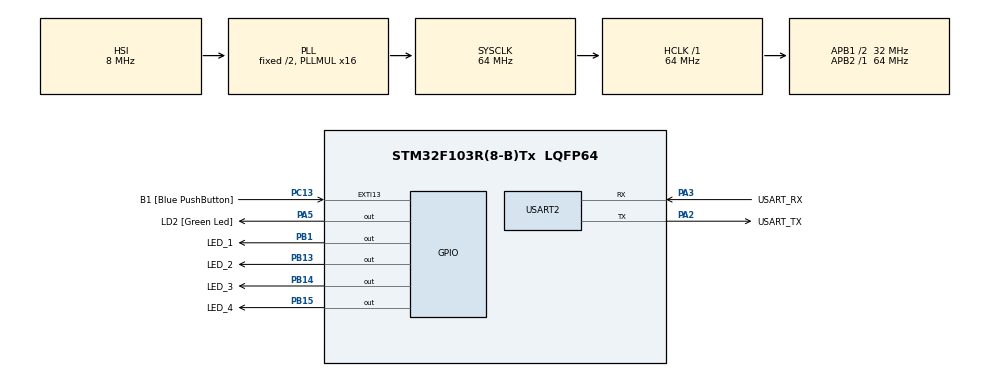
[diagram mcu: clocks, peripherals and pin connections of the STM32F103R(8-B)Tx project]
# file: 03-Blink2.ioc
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Mcu.Family=STM32F1
Mcu.Name=STM32F103R(8-B)Tx
Mcu.Package=LQFP64
NVIC.EXTI15_10_IRQn=true\:0\:0\:false\:false\:true\:true\:true\:true
NVIC.PriorityGroup=NVIC_PRIORITYGROUP_4
PA13.GPIO_Label=TMS
PA13.Mode=Serial_Wire
PA13.Signal=SYS_JTMS-SWDIO
PA14.GPIO_Label=TCK
PA14.Mode=Serial_Wire
PA14.Signal=SYS_JTCK-SWCLK
PA2.GPIO_Label=USART_TX
PA2.GPIO_Mode=GPIO_MODE_AF_PP
PA2.GPIO_PuPd=GPIO_NOPULL
PA2.GPIO_Speed=GPIO_SPEED_FREQ_LOW
PA2.Mode=Asynchronous
PA2.Signal=USART2_TX
PA3.GPIO_Label=USART_RX
PA3.GPIO_Mode=GPIO_MODE_AF_PP
PA3.GPIO_PuPd=GPIO_NOPULL
PA3.GPIO_Speed=GPIO_SPEED_FREQ_LOW
PA3.Mode=Asynchronous
PA3.Signal=USART2_RX
PA5.GPIO_Label=LD2 [Green Led]
PA5.GPIO_ModeDefaultOutputPP=GPIO_MODE_OUTPUT_PP
PA5.GPIO_PuPd=GPIO_NOPULL
PA5.GPIO_Speed=GPIO_SPEED_FREQ_LOW
PA5.PinState=GPIO_PIN_RESET
PA5.Signal=GPIO_Output
PB1.GPIO_Label=LED_1
PB1.GPIO_PuPd=GPIO_PULLUP
PB1.Signal=GPIO_Output
PB13.GPIO_Label=LED_2
PB13.GPIO_PuPd=GPIO_PULLUP
PB13.Signal=GPIO_Output
PB14.GPIO_Label=LED_3
PB14.GPIO_PuPd=GPIO_PULLUP
PB14.Signal=GPIO_Output
PB15.GPIO_Label=LED_4
PB15.GPIO_PuPd=GPIO_PULLUP
PB15.Signal=GPIO_Output
PB3.GPIO_Label=SWO
PB3.Signal=SYS_JTDO-TRACESWO
PC13-TAMPER-RTC.GPIO_Label=B1 [Blue PushButton]
PC13-TAMPER-RTC.GPIO_PuPd=GPIO_PULLUP
PC13-TAMPER-RTC.Signal=GPXTI13
PC14-OSC32_IN.Mode=LSE-External-Oscillator
PC14-OSC32_IN.Signal=RCC_OSC32_IN
PC15-OSC32_OUT.Mode=LSE-External-Oscillator
PC15-OSC32_OUT.Signal=RCC_OSC32_OUT
PD0-OSC_IN.Mode=HSE-External-Clock-Source
PD0-OSC_IN.Signal=RCC_OSC_IN
PD1-OSC_OUT.Mode=HSE-External-Clock-Source
PD1-OSC_OUT.Signal=RCC_OSC_OUT
ProjectManager.HeapSize=0x200
ProjectManager.StackSize=0x400
ProjectManager.TargetToolchain=STM32CubeIDE
RCC.AHBFreq_Value=64000000
RCC.APB1CLKDivider=RCC_HCLK_DIV2
RCC.APB1Freq_Value=32000000
RCC.APB1TimFreq_Value=64000000
RCC.APB2Freq_Value=64000000
RCC.APB2TimFreq_Value=64000000
RCC.HCLKFreq_Value=64000000
RCC.PLLMUL=RCC_PLL_MUL16
RCC.RTCClockSelection=RCC_RTCCLKSOURCE_LSE
RCC.SYSCLKFreq_VALUE=64000000
RCC.SYSCLKSource=RCC_SYSCLKSOURCE_PLLCLK
RCC.USBFreq_Value=64000000
USART2.VirtualMode=VM_ASYNC
board=NUCLEO-F103RB

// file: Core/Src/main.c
/* USER CODE BEGIN Header */
/**
  ******************************************************************************
  * @file           : main.c
  * @brief          : Main program body
  ******************************************************************************
  * @attention
  *
  * Copyright (c) 2026 STMicroelectronics.
  * All rights reserved.
  *
  * This software is licensed under terms that can be found in the LICENSE file
  * in the root directory of this software component.
  * If no LICENSE file comes with this software, it is provided AS-IS.
  *
  ******************************************************************************
  */
/* USER CODE END Header */
#include "main.h"

/* USER CODE BEGIN Includes */
#include <stdio.h>
/* USER CODE END Includes */

UART_HandleTypeDef huart2;

/* USER CODE BEGIN PV */
uint32_t now = 0, last_print = 0, last_blink = 0, loop = 0;
uint8_t btn_pressed = 0;

/* USER CODE END PV */

void SystemClock_Config(void);
static void MX_GPIO_Init(void);
static void MX_USART2_UART_Init(void);

/* USER CODE BEGIN 0 */
int _write(int fd, char *ptr, int len){
	HAL_StatusTypeDef hstatus;

	if (fd==1|fd ==2){
		hstatus = HAL_UART_Transmit(&huart2, (uint8_t*) ptr, len, HAL_MAX_DELAY);
		if (hstatus == HAL_OK)
			return len;
		else
			return -1;
	}
	return -1;
}

void HAL_GPIO_EXTI_Callback(uint16_t GPIO_Pin){
	if (GPIO_Pin == B1_Pin){
		btn_pressed = 1;
	}
}
/* USER CODE END 0 */

int main(void)
{

  /* MCU Configuration--------------------------------------------------------*/

  /* Reset of all peripherals, Initializes the Flash interface and the Systick. */
  HAL_Init();

  /* Configure the system clock */
  SystemClock_Config();

  /* Initialize all configured peripherals */
  MX_GPIO_Init();
  MX_USART2_UART_Init();

  /* Infinite loop */
  /* USER CODE BEGIN WHILE */
  uint8_t count = 0;
  while (1)
  {
	  now = uwTick;
	  /* @idea LED Static Change with btn press
	   *
	  if (btn_pressed){
		  HAL_GPIO_TogglePin(LD2_GPIO_Port, LD2_Pin);
		  btn_pressed = 0;
	  }*/

	  /* @idea Binary counter
	   HAL_GPIO_WritePin(LED_1_GPIO_Port, LED_1_Pin, (count & 0x01));

	  HAL_GPIO_WritePin(LED_2_GPIO_Port, LED_2_Pin, (count & 0x02));

	  HAL_GPIO_WritePin(LED_3_GPIO_Port, LED_3_Pin, (count & 0x04));

	  HAL_GPIO_WritePin(LED_4_GPIO_Port, LED_4_Pin, (count & 0x08));

	  count ++;
	  HAL_Delay(1000);
	  */

	  /*
	   * @idea Traffic light (shitCode)
	  HAL_GPIO_TogglePin(LED_1_GPIO_Port, LED_1_Pin);
	  HAL_Delay(3000);
	  HAL_GPIO_TogglePin(LED_1_GPIO_Port, LED_1_Pin);

	  HAL_GPIO_TogglePin(LED_2_GPIO_Port, LED_2_Pin);
	  HAL_Delay(1000);
	  HAL_GPIO_TogglePin(LED_2_GPIO_Port, LED_2_Pin);

	  HAL_GPIO_TogglePin(LED_3_GPIO_Port, LED_3_Pin);
	  HAL_Delay(3000);
	  HAL_GPIO_TogglePin(LED_3_GPIO_Port, LED_3_Pin);
*/

    /* USER CODE END WHILE */

  }
}

void SystemClock_Config(void)
{
  RCC_OscInitTypeDef RCC_OscInitStruct = {0};
  RCC_ClkInitTypeDef RCC_ClkInitStruct = {0};

  /** Initializes the RCC Oscillators according to the specified parameters
  * in the RCC_OscInitTypeDef structure.
  */
  RCC_OscInitStruct.OscillatorType = RCC_OSCILLATORTYPE_HSI;
  RCC_OscInitStruct.HSIState = RCC_HSI_ON;
  RCC_OscInitStruct.HSICalibrationValue = RCC_HSICALIBRATION_DEFAULT;
  RCC_OscInitStruct.PLL.PLLState = RCC_PLL_ON;
  RCC_OscInitStruct.PLL.PLLSource = RCC_PLLSOURCE_HSI_DIV2;
  RCC_OscInitStruct.PLL.PLLMUL = RCC_PLL_MUL16;
  if (HAL_RCC_OscConfig(&RCC_OscInitStruct) != HAL_OK)
  {
    Error_Handler();
  }

  /** Initializes the CPU, AHB and APB buses clocks
  */
  RCC_ClkInitStruct.ClockType = RCC_CLOCKTYPE_HCLK|RCC_CLOCKTYPE_SYSCLK
                              |RCC_CLOCKTYPE_PCLK1|RCC_CLOCKTYPE_PCLK2;
  RCC_ClkInitStruct.SYSCLKSource = RCC_SYSCLKSOURCE_PLLCLK;
  RCC_ClkInitStruct.AHBCLKDivider = RCC_SYSCLK_DIV1;
  RCC_ClkInitStruct.APB1CLKDivider = RCC_HCLK_DIV2;
  RCC_ClkInitStruct.APB2CLKDivider = RCC_HCLK_DIV1;

  if (HAL_RCC_ClockConfig(&RCC_ClkInitStruct, FLASH_LATENCY_2) != HAL_OK)
  {
    Error_Handler();
  }
}

static void MX_USART2_UART_Init(void)
{

  huart2.Instance = USART2;
  huart2.Init.BaudRate = 115200;
  huart2.Init.WordLength = UART_WORDLENGTH_8B;
  huart2.Init.StopBits = UART_STOPBITS_1;
  huart2.Init.Parity = UART_PARITY_NONE;
  huart2.Init.Mode = UART_MODE_TX_RX;
  huart2.Init.HwFlowCtl = UART_HWCONTROL_NONE;
  huart2.Init.OverSampling = UART_OVERSAMPLING_16;
  if (HAL_UART_Init(&huart2) != HAL_OK)
  {
    Error_Handler();
  }

}

static void MX_GPIO_Init(void)
{
  GPIO_InitTypeDef GPIO_InitStruct = {0};

  /* GPIO Ports Clock Enable */
  __HAL_RCC_GPIOC_CLK_ENABLE();
  __HAL_RCC_GPIOD_CLK_ENABLE();
  __HAL_RCC_GPIOA_CLK_ENABLE();
  __HAL_RCC_GPIOB_CLK_ENABLE();

  /*Configure GPIO pin Output Level */
  HAL_GPIO_WritePin(LD2_GPIO_Port, LD2_Pin, GPIO_PIN_RESET);

  /*Configure GPIO pin Output Level */
  HAL_GPIO_WritePin(GPIOB, LED_1_Pin|LED_2_Pin|LED_3_Pin|LED_4_Pin, GPIO_PIN_RESET);

  /*Configure GPIO pin : B1_Pin */
  GPIO_InitStruct.Pin = B1_Pin;
  GPIO_InitStruct.Mode = GPIO_MODE_IT_RISING;
  GPIO_InitStruct.Pull = GPIO_PULLUP;
  HAL_GPIO_Init(B1_GPIO_Port, &GPIO_InitStruct);

  /*Configure GPIO pin : LD2_Pin */
  GPIO_InitStruct.Pin = LD2_Pin;
  GPIO_InitStruct.Mode = GPIO_MODE_OUTPUT_PP;
  GPIO_InitStruct.Pull = GPIO_NOPULL;
  GPIO_InitStruct.Speed = GPIO_SPEED_FREQ_LOW;
  HAL_GPIO_Init(LD2_GPIO_Port, &GPIO_InitStruct);

  /*Configure GPIO pins : LED_1_Pin LED_2_Pin LED_3_Pin LED_4_Pin */
  GPIO_InitStruct.Pin = LED_1_Pin|LED_2_Pin|LED_3_Pin|LED_4_Pin;
  GPIO_InitStruct.Mode = GPIO_MODE_OUTPUT_PP;
  GPIO_InitStruct.Pull = GPIO_PULLUP;
  GPIO_InitStruct.Speed = GPIO_SPEED_FREQ_LOW;
  HAL_GPIO_Init(GPIOB, &GPIO_InitStruct);

  /* EXTI interrupt init*/
  HAL_NVIC_SetPriority(EXTI15_10_IRQn, 0, 0);
  HAL_NVIC_EnableIRQ(EXTI15_10_IRQn);

}

void Error_Handler(void)
{
  __disable_irq();
  while (1)
  {
  }
}
